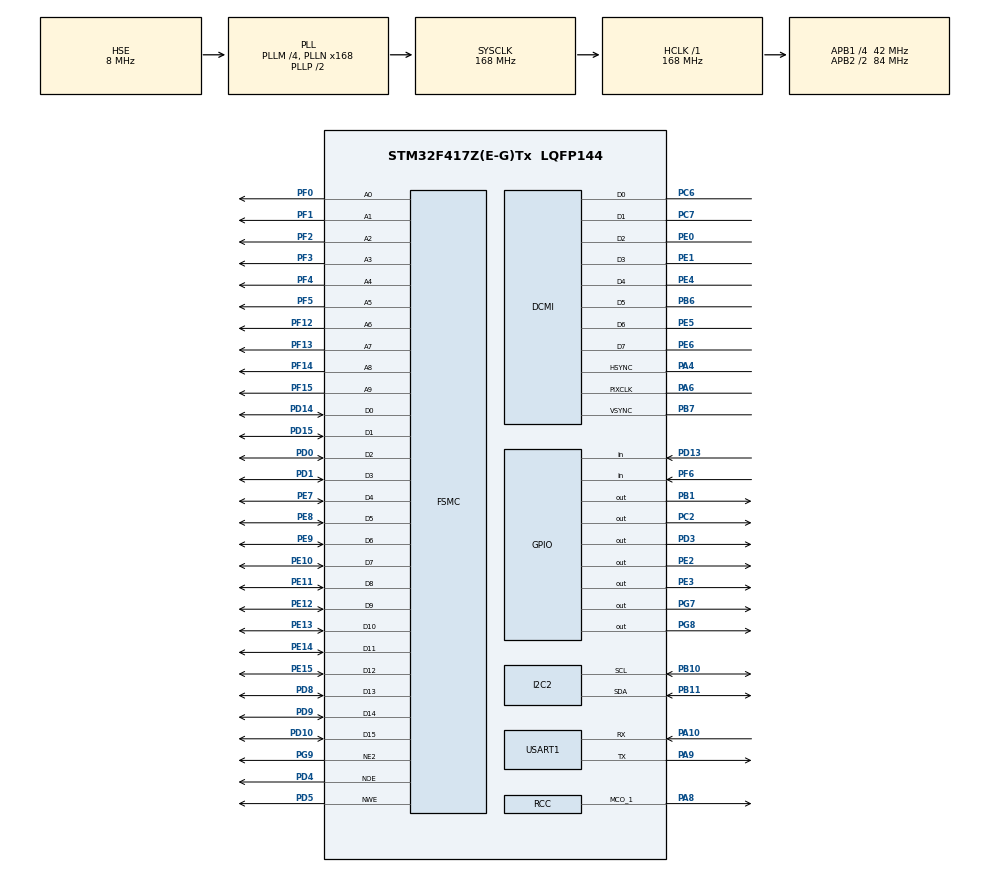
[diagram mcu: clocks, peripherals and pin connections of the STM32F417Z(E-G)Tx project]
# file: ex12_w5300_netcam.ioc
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Mcu.Family=STM32F4
FSMC.AddressSetupTime1=4
PA6.Mode=Slave_8_bits_External_Synchro
PH0-OSC_IN.Signal=RCC_OSC_IN
RCC.CortexFreq_Value=168000000
SH.FSMC_D1_DA1.0=FSMC_D1,16b-d1
PB10.Mode=I2C
SH.FSMC_A6.0=FSMC_A6,10b-a1
PG8.Signal=GPIO_Output
SH.FSMC_NWE.0=FSMC_NWE,Sram1
SH.FSMC_D0_DA0.0=FSMC_D0,16b-d1
Dma.DCMI.0.MemBurst=DMA_MBURST_SINGLE
PB11.Signal=I2C2_SDA
RCC.SYSCLKSource=RCC_SYSCLKSOURCE_PLLCLK
ProjectManager.StackSize=0x400
Dma.DCMI.0.FIFOMode=DMA_FIFOMODE_ENABLE
Dma.DCMI.0.MemDataAlignment=DMA_MDATAALIGN_WORD
PD13.Signal=GPIO_Input
Dma.DCMI.0.FIFOThreshold=DMA_FIFO_THRESHOLD_FULL
Dma.DCMI.0.MemInc=DMA_MINC_ENABLE
PA4.Mode=Slave_8_bits_External_Synchro
Dma.DCMI.0.PeriphDataAlignment=DMA_PDATAALIGN_WORD
SH.FSMC_A7.0=FSMC_A7,10b-a1
RCC.HCLKFreq_Value=168000000
PD4.Signal=FSMC_NOE
RCC.APB2TimFreq_Value=168000000
PB6.Signal=DCMI_D5
PC7.Signal=DCMI_D1
PF12.Signal=FSMC_A6
PB6.Mode=Slave_8_bits_External_Synchro
PD0.Signal=FSMC_D2_DA2
PD8.Signal=FSMC_D13_DA13
PE5.Signal=DCMI_D6
PE1.Signal=DCMI_D3
RCC.AHBFreq_Value=168000000
PH0-OSC_IN.Mode=HSE-External-Oscillator
RCC.HSE_VALUE=8000000
DCMI.PCKPolarity=DCMI_PCKPOLARITY_RISING
PE13.Signal=FSMC_D10_DA10
SH.FSMC_D14_DA14.0=FSMC_D14,16b-d1
SH.FSMC_D10_DA10.0=FSMC_D10,16b-d1
PE9.Signal=FSMC_D6_DA6
PA14.Mode=Serial_Wire
SH.FSMC_A0.0=FSMC_A0,10b-a1
SH.FSMC_D6_DA6.0=FSMC_D6,16b-d1
SH.FSMC_A8.0=FSMC_A8,10b-a1
PE2.Signal=GPIO_Output
PB7.Signal=DCMI_VSYNC
PA8.Signal=RCC_MCO_1
FSMC.BusTurnAroundDuration1=4
Dma.DCMI.0.PeriphBurst=DMA_PBURST_SINGLE
PE4.Mode=Slave_8_bits_External_Synchro
PF3.Signal=FSMC_A3
PE4.Signal=DCMI_D4
PE10.Signal=FSMC_D7_DA7
SH.FSMC_D5_DA5.0=FSMC_D5,16b-d1
SH.FSMC_D4_DA4.0=FSMC_D4,16b-d1
PH1-OSC_OUT.Mode=HSE-External-Oscillator
Mcu.Package=LQFP144
PB1.Signal=GPIO_Output
PA6.Signal=DCMI_PIXCLK
Dma.DCMI.0.Direction=DMA_PERIPH_TO_MEMORY
SH.FSMC_D13_DA13.0=FSMC_D13,16b-d1
PA10.Signal=USART1_RX
PF5.Signal=FSMC_A5
SH.FSMC_A1.0=FSMC_A1,10b-a1
RCC.APB2CLKDivider=RCC_HCLK_DIV2
SH.FSMC_D3_DA3.0=FSMC_D3,16b-d1
SH.FSMC_A9.0=FSMC_A9,10b-a1
PF14.Signal=FSMC_A8
RCC.APB1TimFreq_Value=84000000
SH.FSMC_D2_DA2.0=FSMC_D2,16b-d1
PF0.Signal=FSMC_A0
PE7.Signal=FSMC_D4_DA4
Dma.Request0=DCMI
PD15.Signal=FSMC_D1_DA1
PB4.Signal=SPI1_MISO
RCC.PLLSourceVirtual=RCC_PLLSOURCE_HSE
SH.FSMC_D12_DA12.0=FSMC_D12,16b-d1
PG7.Signal=GPIO_Output
SH.FSMC_A2.0=FSMC_A2,10b-a1
PA10.Mode=Asynchronous
FSMC.WriteOperation1=FSMC_WRITE_OPERATION_ENABLE
PG9.Signal=FSMC_NE2
PD3.Signal=GPIO_Output
PE1.Mode=Slave_8_bits_External_Synchro
PG9.Mode=NorPsramChipSelect2_1
PC2.Signal=GPIO_Output
PC6.Signal=DCMI_D0
PD1.Signal=FSMC_D3_DA3
SH.FSMC_D9_DA9.0=FSMC_D9,16b-d1
PD9.Signal=FSMC_D14_DA14
PD5.Signal=FSMC_NWE
NVIC.DMA2_Stream1_IRQn=true\:0\:0\:false\:false\:true\:false\:true
RCC.APB1CLKDivider=RCC_HCLK_DIV4
SH.FSMC_D8_DA8.0=FSMC_D8,16b-d1
PD10.Signal=FSMC_D15_DA15
PA13.Signal=SYS_JTMS-SWDIO
PA9.Mode=Asynchronous
PF6.Signal=GPIO_Input
PB11.Mode=I2C
SH.FSMC_A3.0=FSMC_A3,10b-a1
ProjectManager.TargetToolchain=STM32CubeIDE
PC6.Mode=Slave_8_bits_External_Synchro
PA9.Signal=USART1_TX
Dma.DCMI.0.Instance=DMA2_Stream1
Dma.DCMI.0.Mode=DMA_CIRCULAR
PF2.Signal=FSMC_A2
PE11.Signal=FSMC_D8_DA8
RCC.LSE_VALUE=32768
PB10.Signal=I2C2_SCL
DCMI.JPEGMode=DCMI_JPEG_DISABLE
SH.FSMC_D7_DA7.0=FSMC_D7,16b-d1
board=custom
RCC.VCOOutputFreq_Value=336000000
RCC.APB2Freq_Value=84000000
PE14.Signal=FSMC_D11_DA11
PE6.Mode=Slave_8_bits_External_Synchro
PE15.Signal=FSMC_D12_DA12
PE8.Signal=FSMC_D5_DA5
PE5.Mode=Slave_8_bits_External_Synchro
SH.FSMC_A4.0=FSMC_A4,10b-a1
PH1-OSC_OUT.Signal=RCC_OSC_OUT
PD13.GPIO_PuPd=GPIO_PULLUP
PF15.Signal=FSMC_A9
PF13.Signal=FSMC_A7
PF1.Signal=FSMC_A1
PE6.Signal=DCMI_D7
PA13.Mode=Serial_Wire
Mcu.Name=STM32F417Z(E-G)Tx
PE0.Signal=DCMI_D2
PE12.Signal=FSMC_D9_DA9
PD14.Signal=FSMC_D0_DA0
RCC.48MHZClocksFreq_Value=48000000
PB3.Signal=SPI1_SCK
PA4.Signal=DCMI_HSYNC
RCC.SYSCLKFreq_VALUE=168000000
PB5.Signal=SPI1_MOSI
USART1.VirtualMode=VM_ASYNC
PB7.Mode=Slave_8_bits_External_Synchro
SH.FSMC_D15_DA15.0=FSMC_D15,16b-d1
PA14.Signal=SYS_JTCK-SWCLK
ProjectManager.HeapSize=0x200
SH.FSMC_D11_DA11.0=FSMC_D11,16b-d1
SH.FSMC_NOE.0=FSMC_NOE,Sram1
RCC.HSI_VALUE=16000000
RCC.PLLQ=7
NVIC.PriorityGroup=NVIC_PRIORITYGROUP_4
SH.FSMC_A5.0=FSMC_A5,10b-a1
RCC.PLLM=4
RCC.PLLN=168
PF6.GPIO_PuPd=GPIO_PULLUP
PE3.Signal=GPIO_Output
PA8.Mode=Clock-out-1
Dma.DCMI.0.PeriphInc=DMA_PINC_DISABLE
PF4.Signal=FSMC_A4
NVIC.DCMI_IRQn=true\:0\:0\:false\:false\:true\:true\:true
PC7.Mode=Slave_8_bits_External_Synchro
RCC.APB1Freq_Value=42000000
PE0.Mode=Slave_8_bits_External_Synchro
Dma.DCMI.0.Priority=DMA_PRIORITY_VERY_HIGH

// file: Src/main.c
/* USER CODE BEGIN Header */
/**
  ******************************************************************************
  * @file           : main.c
  * @brief          : Main program body
  ******************************************************************************
  * @attention
  *
  * <h2><center>&copy; Copyright (c) 2021 STMicroelectronics.
  * All rights reserved.</center></h2>
  *
  * This software component is licensed by ST under BSD 3-Clause license,
  * the "License"; You may not use this file except in compliance with the
  * License. You may obtain a copy of the License at:
  *                        opensource.org/licenses/BSD-3-Clause
  *
  ******************************************************************************
  */
/* USER CODE END Header */
#include "main.h"

DCMI_HandleTypeDef hdcmi;
DMA_HandleTypeDef hdma_dcmi;

I2C_HandleTypeDef hi2c2;

UART_HandleTypeDef huart1;

SRAM_HandleTypeDef hsram1;

void SystemClock_Config(void);
static void MX_GPIO_Init(void);
static void MX_DMA_Init(void);
static void MX_FSMC_Init(void);
static void MX_USART1_UART_Init(void);
static void MX_DCMI_Init(void);
static void MX_I2C2_Init(void);

/* USER CODE BEGIN 0 */
#define _CAM_SOCK_NUM		0
#define _CAM_ETHER_PORT		3000

#define _CMD_CAM_START		0xFE
#define _CMD_CAM_STOP		0xFD
#define _CMD_CAM_SIZE		0xFC
#define _CMD_LED			0xF0
#define _CMD_CAM_LINE		0xFB
#define _CMD_CAM_FRAME		0xFA

int gImgTransferFlag = 1;

unsigned int dDestport = _CAM_ETHER_PORT;

#include "config.h"
#include "_user_code_intit.h"
#include "_user_code_w5300.h"
#include "_user_code_cam.h"

int32_t ProcessCamTcps(uint8_t sn, uint8_t* buf, uint16_t port)
{
   int32_t ret;
   uint16_t size = 0, sentsize=0;

	unsigned int cmd;
	unsigned int para;
#ifdef _LOOPBACK_DEBUG_
   uint8_t destip[4];
   uint16_t destport;
#endif

   switch(getSn_SR(sn))
   {
      case SOCK_ESTABLISHED :
         if(getSn_IR(sn) & Sn_IR_CON)
         {
#ifdef _LOOPBACK_DEBUG_
			getSn_DIPR(sn, destip);
			destport = getSn_DPORT(sn);

			printf("%d:Connected - %d.%d.%d.%d : %d\r\n",sn, destip[0], destip[1], destip[2], destip[3], destport);
#endif
			setSn_IR(sn,Sn_IR_CON);
         }
		 if((size = getSn_RX_RSR(sn)) > 0) // Don't need to check SOCKERR_BUSY because it doesn't not occur.
         {
			if(size > ETH_MAX_BUF_SIZE) size = ETH_MAX_BUF_SIZE;
			ret = recv(sn, buf, size);

			cmd = buf[0];
			para = buf[2]<<8 | buf[3];

            if(cmd == _CMD_LED)
            {
            	if(para == 0)
           		{
            		Led1Off();
           		}
            	else if(para == 1)
            	{
            		Led1On();
            	}
            }
            else if(cmd == _CMD_CAM_START)
            {
            	gImgTransferFlag = 1;
            	printf("Cam Stream Start\r\n");
            }
            else if(cmd == _CMD_CAM_STOP)
            {
            	gImgTransferFlag = 0;
            	printf("Cam Stream Stop\r\n");
            }

			//sendto(sock, data_buf, len, gDestip, dDestport);

			printf("rx size=%d	\r\n", size);
         }
         break;
      case SOCK_CLOSE_WAIT :
#ifdef _LOOPBACK_DEBUG_
         //printf("%d:CloseWait\r\n",sn);
#endif
         if((ret = disconnect(sn)) != SOCK_OK) return ret;
#ifdef _LOOPBACK_DEBUG_
         printf("%d:Socket Closed\r\n", sn);
#endif
         break;
      case SOCK_INIT :
#ifdef _LOOPBACK_DEBUG_
    	 printf("%d:Listen, TCP server loopback, port [%d]\r\n", sn, port);
#endif
         if( (ret = listen(sn)) != SOCK_OK) return ret;
         break;
      case SOCK_CLOSED:
#ifdef _LOOPBACK_DEBUG_
         //printf("%d:TCP server loopback start\r\n",sn);
#endif
         if((ret = socket(sn, Sn_MR_TCP, port, 0x00)) != sn) return ret;
#ifdef _LOOPBACK_DEBUG_
         //printf("%d:Socket opened\r\n",sn);
#endif

         break;
      default:
         break;
   }
   return 1;
}

void CamImagTransferLine(unsigned int Cmd, unsigned int Para)
{

  	int ret ;

	unsigned char data_buf[2048*_UDP_TX_BUF_RATE];
	unsigned int size = _IMAGE_SIZE_X*2*_UDP_TX_BUF_RATE;

  	data_buf[0] = Cmd;
  	data_buf[1] = 0;
  	data_buf[2] = Para>>8;
  	data_buf[3] = Para;

  	memcpy((uint8_t *)&data_buf[4], (uint8_t *)&FrameBuffer, size);

	if(gImgTransferFlag)
	{
		ret = send(_CAM_SOCK_NUM, (uint8_t *)data_buf, size+4);
	}
}

void CamImagTransferFrame(unsigned int Cmd, unsigned int Para)
{
	int ret ;
	unsigned char data_buf[2048*_UDP_TX_BUF_RATE];
	unsigned int size = _IMAGE_SIZE_X*2*_UDP_TX_BUF_RATE;

  	data_buf[0] = Cmd;
  	data_buf[1] = 0;
  	data_buf[2] = Para>>8;
  	data_buf[3] = Para;

	if(gImgTransferFlag)
	{
		HAL_Delay(1);
		ret = send(_CAM_SOCK_NUM, data_buf, size+4);
		HAL_Delay(1);
	}
}
/* USER CODE END 0 */

int main(void)
{

  /* MCU Configuration--------------------------------------------------------*/

  /* Reset of all peripherals, Initializes the Flash interface and the Systick. */
  HAL_Init();

  /* Configure the system clock */
  SystemClock_Config();

  /* Initialize all configured peripherals */
  MX_GPIO_Init();
  MX_DMA_Init();
  MX_FSMC_Init();
  MX_USART1_UART_Init();
  MX_DCMI_Init();
  MX_I2C2_Init();
  /* USER CODE BEGIN 2 */
  //init_project();
	printf("W5300 Camera Test\r\n");

	_init_cam();
	_InitW5300();

	CameraStat();

  /* USER CODE END 2 */

  /* Infinite loop */
  while (1)
  {
		ProcessCamTcps(_CAM_SOCK_NUM, ethBuf0, dDestport);

	  	if(gCameraFrameFlag>0)
	  	{
	  		gCameraFrameFlag = 0;
	  		CamImagTransferFrame(_CMD_CAM_FRAME, gLineCnt);

	  		printf(">%d, %d\r\n", gFrameCnt, gLineCnt);
	  		gFrameCnt++;
	  		gLineCnt = 0;
	  	}

		if(gCameraLineFlag>0)
		{
			gCameraLineFlag = 0;

			CamImagTransferLine(_CMD_CAM_LINE, gLineCnt);
			gLineCnt++;
		}
  }
}

void SystemClock_Config(void)
{
  RCC_OscInitTypeDef RCC_OscInitStruct = {0};
  RCC_ClkInitTypeDef RCC_ClkInitStruct = {0};

  /** Configure the main internal regulator output voltage
  */
  __HAL_RCC_PWR_CLK_ENABLE();
  __HAL_PWR_VOLTAGESCALING_CONFIG(PWR_REGULATOR_VOLTAGE_SCALE1);
  /** Initializes the RCC Oscillators according to the specified parameters
  * in the RCC_OscInitTypeDef structure.
  */
  RCC_OscInitStruct.OscillatorType = RCC_OSCILLATORTYPE_HSI|RCC_OSCILLATORTYPE_HSE;
  RCC_OscInitStruct.HSEState = RCC_HSE_ON;
  RCC_OscInitStruct.HSIState = RCC_HSI_ON;
  RCC_OscInitStruct.HSICalibrationValue = RCC_HSICALIBRATION_DEFAULT;
  RCC_OscInitStruct.PLL.PLLState = RCC_PLL_ON;
  RCC_OscInitStruct.PLL.PLLSource = RCC_PLLSOURCE_HSE;
  RCC_OscInitStruct.PLL.PLLM = 4;
  RCC_OscInitStruct.PLL.PLLN = 168;
  RCC_OscInitStruct.PLL.PLLP = RCC_PLLP_DIV2;
  RCC_OscInitStruct.PLL.PLLQ = 7;
  if (HAL_RCC_OscConfig(&RCC_OscInitStruct) != HAL_OK)
  {
    Error_Handler();
  }
  /** Initializes the CPU, AHB and APB buses clocks
  */
  RCC_ClkInitStruct.ClockType = RCC_CLOCKTYPE_HCLK|RCC_CLOCKTYPE_SYSCLK
                              |RCC_CLOCKTYPE_PCLK1|RCC_CLOCKTYPE_PCLK2;
  RCC_ClkInitStruct.SYSCLKSource = RCC_SYSCLKSOURCE_PLLCLK;
  RCC_ClkInitStruct.AHBCLKDivider = RCC_SYSCLK_DIV1;
  RCC_ClkInitStruct.APB1CLKDivider = RCC_HCLK_DIV4;
  RCC_ClkInitStruct.APB2CLKDivider = RCC_HCLK_DIV2;

  if (HAL_RCC_ClockConfig(&RCC_ClkInitStruct, FLASH_LATENCY_5) != HAL_OK)
  {
    Error_Handler();
  }
  HAL_RCC_MCOConfig(RCC_MCO1, RCC_MCO1SOURCE_HSI, RCC_MCODIV_1);
}

static void MX_DCMI_Init(void)
{

  hdcmi.Instance = DCMI;
  hdcmi.Init.SynchroMode = DCMI_SYNCHRO_HARDWARE;
  hdcmi.Init.PCKPolarity = DCMI_PCKPOLARITY_RISING;
  hdcmi.Init.VSPolarity = DCMI_VSPOLARITY_LOW;
  hdcmi.Init.HSPolarity = DCMI_HSPOLARITY_LOW;
  hdcmi.Init.CaptureRate = DCMI_CR_ALL_FRAME;
  hdcmi.Init.ExtendedDataMode = DCMI_EXTEND_DATA_8B;
  hdcmi.Init.JPEGMode = DCMI_JPEG_DISABLE;
  if (HAL_DCMI_Init(&hdcmi) != HAL_OK)
  {
    Error_Handler();
  }

}

static void MX_I2C2_Init(void)
{

  hi2c2.Instance = I2C2;
  hi2c2.Init.ClockSpeed = 100000;
  hi2c2.Init.DutyCycle = I2C_DUTYCYCLE_2;
  hi2c2.Init.OwnAddress1 = 0;
  hi2c2.Init.AddressingMode = I2C_ADDRESSINGMODE_7BIT;
  hi2c2.Init.DualAddressMode = I2C_DUALADDRESS_DISABLE;
  hi2c2.Init.OwnAddress2 = 0;
  hi2c2.Init.GeneralCallMode = I2C_GENERALCALL_DISABLE;
  hi2c2.Init.NoStretchMode = I2C_NOSTRETCH_DISABLE;
  if (HAL_I2C_Init(&hi2c2) != HAL_OK)
  {
    Error_Handler();
  }

}

static void MX_USART1_UART_Init(void)
{

  huart1.Instance = USART1;
  huart1.Init.BaudRate = 115200;
  huart1.Init.WordLength = UART_WORDLENGTH_8B;
  huart1.Init.StopBits = UART_STOPBITS_1;
  huart1.Init.Parity = UART_PARITY_NONE;
  huart1.Init.Mode = UART_MODE_TX_RX;
  huart1.Init.HwFlowCtl = UART_HWCONTROL_NONE;
  huart1.Init.OverSampling = UART_OVERSAMPLING_16;
  if (HAL_UART_Init(&huart1) != HAL_OK)
  {
    Error_Handler();
  }

}

static void MX_DMA_Init(void)
{

  /* DMA controller clock enable */
  __HAL_RCC_DMA2_CLK_ENABLE();

  /* DMA interrupt init */
  /* DMA2_Stream1_IRQn interrupt configuration */
  HAL_NVIC_SetPriority(DMA2_Stream1_IRQn, 0, 0);
  HAL_NVIC_EnableIRQ(DMA2_Stream1_IRQn);

}

static void MX_GPIO_Init(void)
{
  GPIO_InitTypeDef GPIO_InitStruct = {0};

  /* GPIO Ports Clock Enable */
  __HAL_RCC_GPIOE_CLK_ENABLE();
  __HAL_RCC_GPIOF_CLK_ENABLE();
  __HAL_RCC_GPIOH_CLK_ENABLE();
  __HAL_RCC_GPIOC_CLK_ENABLE();
  __HAL_RCC_GPIOA_CLK_ENABLE();
  __HAL_RCC_GPIOB_CLK_ENABLE();
  __HAL_RCC_GPIOD_CLK_ENABLE();
  __HAL_RCC_GPIOG_CLK_ENABLE();

  /*Configure GPIO pin Output Level */
  HAL_GPIO_WritePin(GPIOE, GPIO_PIN_2|GPIO_PIN_3, GPIO_PIN_RESET);

  /*Configure GPIO pin Output Level */
  HAL_GPIO_WritePin(GPIOC, GPIO_PIN_2, GPIO_PIN_RESET);

  /*Configure GPIO pin Output Level */
  HAL_GPIO_WritePin(GPIOB, GPIO_PIN_1, GPIO_PIN_RESET);

  /*Configure GPIO pin Output Level */
  HAL_GPIO_WritePin(GPIOG, GPIO_PIN_7|GPIO_PIN_8, GPIO_PIN_RESET);

  /*Configure GPIO pin Output Level */
  HAL_GPIO_WritePin(GPIOD, GPIO_PIN_3, GPIO_PIN_RESET);

  /*Configure GPIO pins : PE2 PE3 */
  GPIO_InitStruct.Pin = GPIO_PIN_2|GPIO_PIN_3;
  GPIO_InitStruct.Mode = GPIO_MODE_OUTPUT_PP;
  GPIO_InitStruct.Pull = GPIO_NOPULL;
  GPIO_InitStruct.Speed = GPIO_SPEED_FREQ_LOW;
  HAL_GPIO_Init(GPIOE, &GPIO_InitStruct);

  /*Configure GPIO pin : PF6 */
  GPIO_InitStruct.Pin = GPIO_PIN_6;
  GPIO_InitStruct.Mode = GPIO_MODE_INPUT;
  GPIO_InitStruct.Pull = GPIO_PULLUP;
  HAL_GPIO_Init(GPIOF, &GPIO_InitStruct);

  /*Configure GPIO pin : PC2 */
  GPIO_InitStruct.Pin = GPIO_PIN_2;
  GPIO_InitStruct.Mode = GPIO_MODE_OUTPUT_PP;
  GPIO_InitStruct.Pull = GPIO_NOPULL;
  GPIO_InitStruct.Speed = GPIO_SPEED_FREQ_LOW;
  HAL_GPIO_Init(GPIOC, &GPIO_InitStruct);

  /*Configure GPIO pin : PB1 */
  GPIO_InitStruct.Pin = GPIO_PIN_1;
  GPIO_InitStruct.Mode = GPIO_MODE_OUTPUT_PP;
  GPIO_InitStruct.Pull = GPIO_NOPULL;
  GPIO_InitStruct.Speed = GPIO_SPEED_FREQ_LOW;
  HAL_GPIO_Init(GPIOB, &GPIO_InitStruct);

  /*Configure GPIO pin : PD13 */
  GPIO_InitStruct.Pin = GPIO_PIN_13;
  GPIO_InitStruct.Mode = GPIO_MODE_INPUT;
  GPIO_InitStruct.Pull = GPIO_PULLUP;
  HAL_GPIO_Init(GPIOD, &GPIO_InitStruct);

  /*Configure GPIO pins : PG7 PG8 */
  GPIO_InitStruct.Pin = GPIO_PIN_7|GPIO_PIN_8;
  GPIO_InitStruct.Mode = GPIO_MODE_OUTPUT_PP;
  GPIO_InitStruct.Pull = GPIO_NOPULL;
  GPIO_InitStruct.Speed = GPIO_SPEED_FREQ_LOW;
  HAL_GPIO_Init(GPIOG, &GPIO_InitStruct);

  /*Configure GPIO pin : PA8 */
  GPIO_InitStruct.Pin = GPIO_PIN_8;
  GPIO_InitStruct.Mode = GPIO_MODE_AF_PP;
  GPIO_InitStruct.Pull = GPIO_NOPULL;
  GPIO_InitStruct.Speed = GPIO_SPEED_FREQ_LOW;
  GPIO_InitStruct.Alternate = GPIO_AF0_MCO;
  HAL_GPIO_Init(GPIOA, &GPIO_InitStruct);

  /*Configure GPIO pin : PD3 */
  GPIO_InitStruct.Pin = GPIO_PIN_3;
  GPIO_InitStruct.Mode = GPIO_MODE_OUTPUT_PP;
  GPIO_InitStruct.Pull = GPIO_NOPULL;
  GPIO_InitStruct.Speed = GPIO_SPEED_FREQ_LOW;
  HAL_GPIO_Init(GPIOD, &GPIO_InitStruct);

  /*Configure GPIO pins : PB3 PB4 PB5 */
  GPIO_InitStruct.Pin = GPIO_PIN_3|GPIO_PIN_4|GPIO_PIN_5;
  GPIO_InitStruct.Mode = GPIO_MODE_AF_PP;
  GPIO_InitStruct.Pull = GPIO_NOPULL;
  GPIO_InitStruct.Speed = GPIO_SPEED_FREQ_VERY_HIGH;
  GPIO_InitStruct.Alternate = GPIO_AF5_SPI1;
  HAL_GPIO_Init(GPIOB, &GPIO_InitStruct);

}

/* FSMC initialization function */
static void MX_FSMC_Init(void)
{

  FSMC_NORSRAM_TimingTypeDef Timing = {0};

  /** Perform the SRAM1 memory initialization sequence
  */
  hsram1.Instance = FSMC_NORSRAM_DEVICE;
  hsram1.Extended = FSMC_NORSRAM_EXTENDED_DEVICE;
  /* hsram1.Init */
  hsram1.Init.NSBank = FSMC_NORSRAM_BANK2;
  hsram1.Init.DataAddressMux = FSMC_DATA_ADDRESS_MUX_DISABLE;
  hsram1.Init.MemoryType = FSMC_MEMORY_TYPE_SRAM;
  hsram1.Init.MemoryDataWidth = FSMC_NORSRAM_MEM_BUS_WIDTH_16;
  hsram1.Init.BurstAccessMode = FSMC_BURST_ACCESS_MODE_DISABLE;
  hsram1.Init.WaitSignalPolarity = FSMC_WAIT_SIGNAL_POLARITY_LOW;
  hsram1.Init.WrapMode = FSMC_WRAP_MODE_DISABLE;
  hsram1.Init.WaitSignalActive = FSMC_WAIT_TIMING_BEFORE_WS;
  hsram1.Init.WriteOperation = FSMC_WRITE_OPERATION_ENABLE;
  hsram1.Init.WaitSignal = FSMC_WAIT_SIGNAL_DISABLE;
  hsram1.Init.ExtendedMode = FSMC_EXTENDED_MODE_DISABLE;
  hsram1.Init.AsynchronousWait = FSMC_ASYNCHRONOUS_WAIT_DISABLE;
  hsram1.Init.WriteBurst = FSMC_WRITE_BURST_DISABLE;
  hsram1.Init.PageSize = FSMC_PAGE_SIZE_NONE;
  /* Timing */
  Timing.AddressSetupTime = 4;
  Timing.AddressHoldTime = 4;
  Timing.DataSetupTime = 4;
  Timing.BusTurnAroundDuration = 4;
  Timing.CLKDivision = 4;
  Timing.DataLatency = 4;
  Timing.AccessMode = FSMC_ACCESS_MODE_A;
  /* ExtTiming */

  if (HAL_SRAM_Init(&hsram1, &Timing, NULL) != HAL_OK)
  {
    Error_Handler( );
  }

}

void Error_Handler(void)
{
}

/************************ (C) COPYRIGHT STMicroelectronics *****END OF FILE****/
